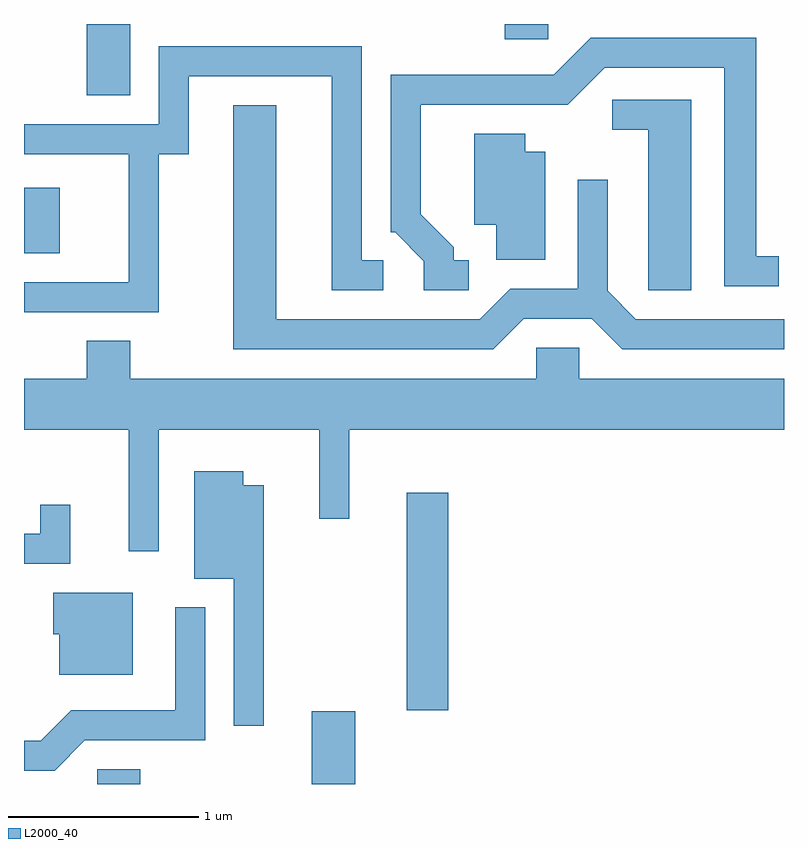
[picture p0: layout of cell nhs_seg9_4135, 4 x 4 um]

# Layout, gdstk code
import gdstk
lib = gdstk.Library(unit=1e-6, precision=1e-09)
def R(c, l, rs):  # rectangles x0, y0, x1, y1
    for r in rs: c.add(gdstk.rectangle(r[:2], r[2:], *l))
def P(c, l, *ps):  # polygons
    for p in ps: c.add(gdstk.Polygon(p, *l))
L2000_40 = (2000, 40)

nhs_seg9_4135 = lib.new_cell('nhs_seg9_4135')
R(nhs_seg9_4135, L2000_40, [(307.996,1954.432,308.224,1954.509), (309.126,1954.432,309.354,1954.814), (309.626,1954.821,309.844,1955.964), (307.611,1957.226,307.799,1957.569), (307.941,1958.056,308.169,1958.432), (310.141,1958.351,310.369,1958.432)])
P(nhs_seg9_4135, L2000_40, [(309.953,1957.189),(309.874,1957.189),(309.874,1957.257),(309.699,1957.432),(309.699,1958.006),(310.472,1958.006),(310.667,1958.201),(311.296,1958.201),(311.296,1957.051),(311.583,1957.051),(311.583,1957.209),(311.464,1957.209),(311.464,1958.359),(310.594,1958.359),(310.399,1958.164),(309.541,1958.164),(309.541,1957.336),(309.564,1957.336),(309.716,1957.184),(309.716,1957.031),(309.953,1957.031)],
  [(308.319,1957.746),(308.479,1957.746),(308.479,1958.156),(309.231,1958.156),(309.231,1957.031),(309.503,1957.031),(309.503,1957.189),(309.389,1957.189),(309.389,1958.314),(308.321,1958.314),(308.321,1957.904),(307.611,1957.904),(307.611,1957.746),(308.161,1957.746),(308.161,1957.074),(307.611,1957.074),(307.611,1956.916),(308.319,1956.916)],
  [(311.124,1958.034),(310.708,1958.034),(310.708,1957.876),(310.896,1957.876),(310.896,1957.031),(311.124,1957.031)],
  [(310.242,1956.881),(310.599,1956.881),(310.759,1956.721),(311.611,1956.721),(311.611,1956.879),(310.832,1956.879),(310.684,1957.027),(310.684,1957.613),(310.526,1957.613),(310.526,1957.039),(310.169,1957.039),(310.009,1956.879),(308.939,1956.879),(308.939,1958.004),(308.711,1958.004),(308.711,1956.721),(310.082,1956.721)],
  [(310.354,1957.759),(310.249,1957.759),(310.249,1957.854),(309.981,1957.854),(309.981,1957.376),(310.096,1957.376),(310.096,1957.191),(310.354,1957.191)],
  [(308.319,1956.296),(309.166,1956.296),(309.166,1955.828),(309.324,1955.828),(309.324,1956.296),(311.611,1956.296),(311.611,1956.564),(310.534,1956.564),(310.534,1956.729),(310.306,1956.729),(310.306,1956.564),(308.169,1956.564),(308.169,1956.764),(307.941,1956.764),(307.941,1956.564),(307.611,1956.564),(307.611,1956.296),(308.161,1956.296),(308.161,1955.658),(308.319,1955.658)],
  [(308.874,1956.004),(308.764,1956.004),(308.764,1956.079),(308.506,1956.079),(308.506,1955.511),(308.716,1955.511),(308.716,1954.738),(308.874,1954.738)],
  [(307.854,1955.903),(307.696,1955.903),(307.696,1955.749),(307.611,1955.749),(307.611,1955.591),(307.854,1955.591)],
  [(308.184,1955.439),(307.766,1955.439),(307.766,1955.221),(307.796,1955.221),(307.796,1955.006),(308.184,1955.006)],
  [(307.932,1954.661),(308.564,1954.661),(308.564,1955.363),(308.406,1955.363),(308.406,1954.819),(307.859,1954.819),(307.699,1954.659),(307.611,1954.659),(307.611,1954.501),(307.772,1954.501)])

lib.write_gds('nhs_seg9_4135.gds')
